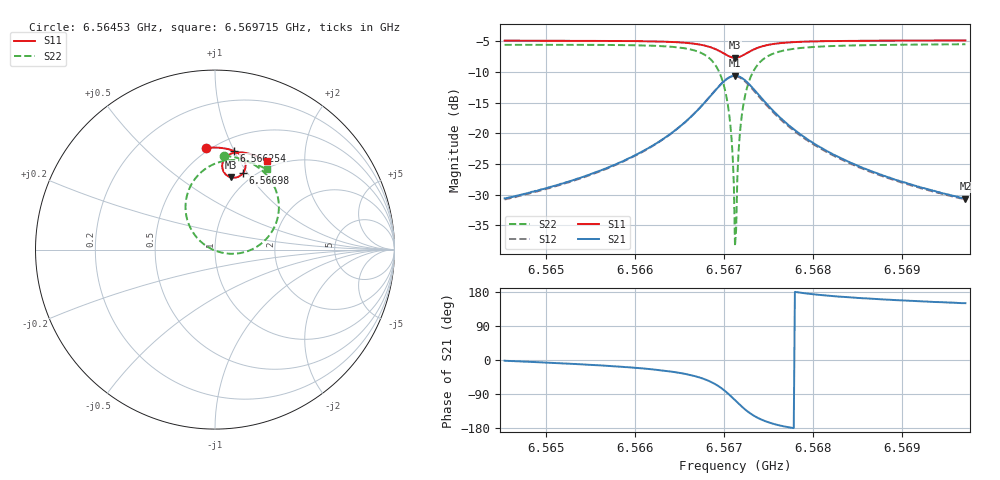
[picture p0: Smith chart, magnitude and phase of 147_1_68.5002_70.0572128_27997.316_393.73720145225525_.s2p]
#  HZ  S  RI  R  50.00
! Rohde & Schwarz Vector Network Analyzer
! Rohde-Schwarz,ZNB20-2Port,1311601062101988,3.16
! Created: UTC 3/20/2024, 5:10:15 PM
! freq[Hz]  re:S11  im:S11  re:S21  im:S21  re:S12  im:S12  re:S22  im:S22
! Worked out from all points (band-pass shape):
!   401 points, 6.56453 GHz to 6.569715 GHz, reference 50 ohm
!   highest |S21| = -10.62 dB at 6.567123 GHz (marker M1); lowest = -30.7 dB at 6.569715 GHz (marker M2)
!   |S21| within 3 dB of the highest: 6.566865 GHz to 6.567382 GHz (517.5 kHz wide, 0.00788 % of centre)
!   lowest |S11| = -7.7 dB at 6.567123 GHz (marker M3), VSWR 2.40, Z = 42 + j40.7 ohm
!   |S11| at or under -10 dB: nowhere
!   |S22| runs from -38.4 to -5.5 dB; largest |S21 - S12| = 0.014
!   S11 on the Smith chart (normalised r, x): 6.56453 GHz: 0.48, +0.80; 6.566254 GHz: 0.62, +1.00; 6.56698 GHz: 0.89, +0.95; 6.569715 GHz: 0.90, +1.32
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6.5645304e9  -0.0495 0.5669  0.0295 -0.000927  0.0289 -0.00149  0.0509 0.5234
6.5653987e9  0.0224 0.5674  0.043 -0.00888  0.0422 -0.00925  0.1352 0.5081
6.5662542e9  0.1042 0.55  0.0755 -0.0371  0.0745 -0.038  0.2531 0.4483
6.5662671e9  0.1056 0.5494  0.0764 -0.0381  0.0753 -0.0391  0.2555 0.4464
6.5665652e9  0.141 0.5278  0.0992 -0.0743  0.0977 -0.076  0.3178 0.3746
6.5667726e9  0.1653 0.4936  0.1124 -0.1341  0.1098 -0.1368  0.355 0.2598
6.5668893e9  0.1696 0.4596  0.1014 -0.1935  0.0963 -0.1972  0.3397 0.1466
6.56698e9  0.1565 0.4266  0.0617 -0.2501  0.0529 -0.2531  0.2672 0.0412
6.5670577e9  0.1262 0.4043  -0.00723 -0.2852  -0.0194 -0.2844  0.14 -0.0197
6.5670837e9  0.1124 0.4011  -0.0362 -0.2886  -0.0491 -0.2859  0.0877 -0.0234
6.5671096e9  0.0981 0.401  -0.066 -0.2864  -0.0788 -0.2813  0.0343 -0.0161
6.5671226e9  0.091 0.4022  -0.081 -0.283  -0.0934 -0.2768  0.00854 -0.00846
6.5671355e9  0.084 0.4042  -0.0954 -0.2782  -0.1074 -0.2709  -0.0164 0.00177
6.5671485e9  0.0772 0.4067  -0.1092 -0.272  -0.1205 -0.2636  -0.0398 0.0146
6.5671744e9  0.0653 0.4143  -0.1342 -0.2557  -0.1439 -0.2457  -0.0816 0.0464
6.5672133e9  0.0513 0.4293  -0.1634 -0.2252  -0.1702 -0.2136  -0.1281 0.1041
6.5672522e9  0.0431 0.4463  -0.1818 -0.1911  -0.1857 -0.1792  -0.1547 0.1662
6.567317e9  0.0406 0.4739  -0.1919 -0.1374  -0.192 -0.1266  -0.1631 0.261
6.5675632e9  0.0792 0.5295  -0.1469 -0.0284  -0.1435 -0.0239  -0.0604 0.4447
6.5679909e9  0.1424 0.5423  -0.0839 0.00915  -0.0819 0.0105  0.0797 0.4979
6.5688593e9  0.2252 0.5227  -0.0407 0.0157  -0.0397 0.0159  0.2108 0.4815
6.5697148e9  0.2891 0.4921  -0.0254 0.0147  -0.0248 0.0148  0.2879 0.4469
